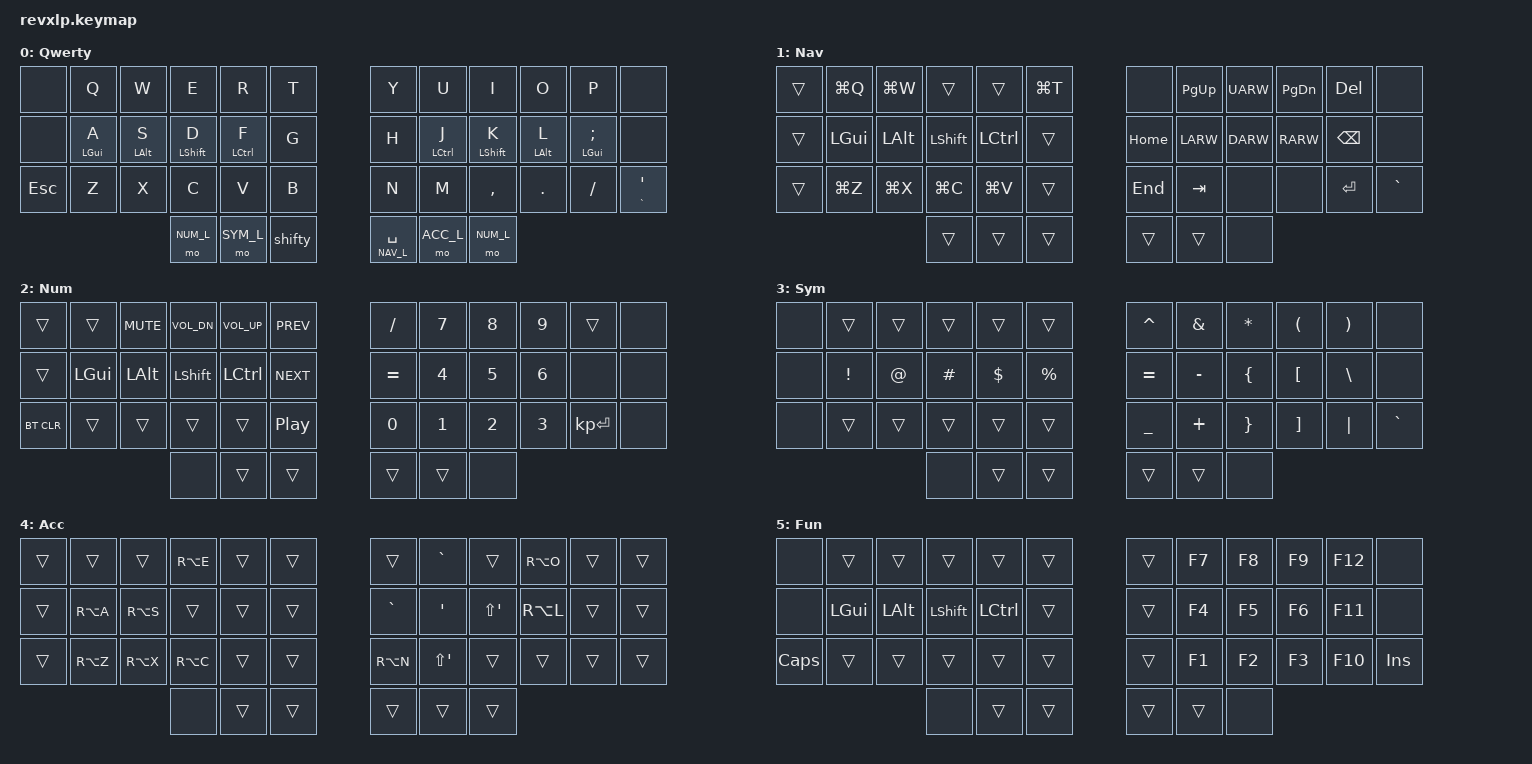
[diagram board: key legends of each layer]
/*
 * Copyright (c) 2020 The ZMK Contributors
 *
 * SPDX-License-Identifier: MIT
 */

#include <behaviors.dtsi>
#include <dt-bindings/zmk/keys.h>
#include <dt-bindings/zmk/bt.h>

#define DEFAULT_L 0
#define NAV_L 1
#define NUM_L 2
#define SYM_L 3
#define ACC_L 4
#define FUN_L 5

/* Key Position Groups */
#define KEYS_L 0 1 2 3 4 5 12 13 14 15 16 17 24 25 26 27 28 29    // left-hand keys
#define KEYS_R 6 7 8 9 10 11 18 19 20 21 22 23 30 31 32 33 34 35  // right-hand keys
#define THUMBS 36 37 38 39 40 41                                  // thumb keys

&lt {
    tapping-term-ms = <180>;
};

&mt {
    tapping-term-ms = <150>;
};

/ {
    cond_layers {
        compatible = "zmk,conditional-layers";
        tri {
            if-layers = <NUM_L NAV_L>;
            then-layer = <FUN_L>;
        };
    };

    behaviors {
        shifty: shift_caps_word {
            compatible = "zmk,behavior-tap-dance";
            label = "TD_SHIFTY";
            #binding-cells = <0>;
            tapping-term-ms = <200>;
            bindings = <&kp LSHFT>, <&caps_word>;
        };

        mtl: mod_tap_left {
            compatible = "zmk,behavior-hold-tap";
            label = "MOD_TAP_LEFT";
            #binding-cells = <2>;
            flavor = "balanced";
            tapping-term-ms = <210>;
            quick-tap-ms = <175>;
            bindings = <&kp>, <&kp>;
            hold-trigger-key-positions = <KEYS_R THUMBS>;
            hold-trigger-on-release;
            global-quick-tap;
        };

        mtr: mod_tap_right {
            compatible = "zmk,behavior-hold-tap";
            label = "MOD_TAP_RIGHT";
            #binding-cells = <2>;
            flavor = "balanced";
            tapping-term-ms = <210>;
            quick-tap-ms = <175>;
            bindings = <&kp>, <&kp>;
            hold-trigger-key-positions = <KEYS_L THUMBS>;
            hold-trigger-on-release;
            global-quick-tap;
        };
    };

    combos {
        compatible = "zmk,combos";

    // GLOBAL Combos

    tab_combo {
      timeout-ms = <50>;
      key-positions = <13 25>;
      bindings = <&kp TAB>;
    };

    tab_combo_2 {
      timeout-ms = <50>;
      key-positions = <14 26>;
      bindings = <&kp TAB>;
    };

    tab_combo_3 {
      timeout-ms = <50>;
      key-positions = <2 14>;
      bindings = <&kp TAB>;
    };

    // NUM_L Combos

    brightness_down_combo {
        timeout-ms = <50>;
        key-positions = <3 15>;
        bindings = <&kp C_BRI_DEC>;
        layers = <NUM_L>;
    };

    brightness_up_combo {
        timeout-ms = <50>;
        key-positions = <4 16>;
        bindings = <&kp C_BRI_INC>;
        layers = <NUM_L>;
    };

    lbracket {
        timeout-ms = <50>;
        key-positions = <14 26>;
        bindings = <&kp LBKT>;
        layers = <NUM_L>;
    };

    rbracket {
        timeout-ms = <50>;
        key-positions = <16 28>;
        bindings = <&kp RBKT>;
        layers = <NUM_L>;
    };

    // DEFAULT_L Combos

    enter_combo {
      timeout-ms = <50>;
      key-positions = <37 38>;
      bindings = <&kp ENTER>;
      layers = <DEFAULT_L>;
    };

    double_quote_combo {
        timeout-ms = <50>;
        key-positions = <7 19>;
        bindings = <&kp LS(QUOT)>;
        layers = <DEFAULT_L>;
    };

    less_than_combo {
        timeout-ms = <50>;
        key-positions = <8 20>;
        bindings = <&kp LT>;
        layers = <DEFAULT_L>;
    };

    bslash_combo {
        timeout-ms = <50>;
        key-positions = <10 22>;
        bindings = <&kp BSLH>;
        layers = <DEFAULT_L>;
    };

    single_quote_combo {
        timeout-ms = <50>;
        key-positions = <19 31>;
        bindings = <&kp QUOT>;
        layers = <DEFAULT_L>;
    };

    greater_than_combo {
        timeout-ms = <50>;
        key-positions = <20 32>;
        bindings = <&kp GT>;
        layers = <DEFAULT_L>;
    };

    ques_mark_combo {
        timeout-ms = <50>;
        key-positions = <21 33>;
        bindings = <&kp LS(FSLH)>;
        layers = <DEFAULT_L>;
    };

    colon_combo {
      timeout-ms = <50>;
      key-positions = <22 34>;
      bindings = <&kp COLON>;
      layers = <DEFAULT_L>;
    };

    // FUN_L Combos

    fslash_combo {
        timeout-ms = <50>;
        key-positions = <22 34>;
        bindings = <&kp FSLH>;
        layers = <FUN_L>;
    };

    bootloader_combo {
        timeout-ms = <50>;
        key-positions = <5 6>;
        bindings = <&bootloader>;
        layers = <FUN_L>;
    };

    };


        keymap {
                compatible = "zmk,keymap";

        qwerty_layer {
            label = "Qwerty";
            bindings = <
        &none        &kp Q       &kp W       &kp E        &kp R        &kp T         &kp Y            &kp U         &kp I        &kp O       &kp P          &none
        &none        &mtl LGUI A &mtl LALT S &mtl LSHFT D &mtl LCTRL F &kp G         &kp H            &mtr LCTRL J  &mtr LSHFT K &mtr LALT L &mtr LGUI SEMI &none
        &kp ESC      &kp Z       &kp X       &kp C        &kp V        &kp B         &kp N            &kp M         &kp COMMA    &kp DOT     &kp FSLH       &mt GRAVE QUOT
                                             &mo NUM_L    &mo SYM_L    &shifty       &lt NAV_L SPACE  &mo ACC_L      &mo NUM_L
            >;
        };

        nav_layer {
            label = "Nav";
            bindings = <
        &trans    &kp LG(Q)  &kp LG(W)  &trans      &trans          &kp LG(T)    &none        &kp PG_UP    &kp UARW   &kp PG_DN   &kp DEL     &none
        &trans    &kp LGUI   &kp LALT   &kp LSHFT   &kp LCTRL       &trans       &kp HOME     &kp LARW     &kp DARW   &kp RARW    &kp BKSP    &none
        &trans    &kp LG(Z)  &kp LG(X)  &kp LG(C)   &kp LG(V)       &trans       &kp END      &kp TAB      &none      &none       &kp ENTER   &kp GRAVE
                                        &trans      &trans          &trans       &trans       &trans       &none
            >;
        };

        num_layer {
            label = "Num";
            bindings = <
        &trans       &trans   &kp C_MUTE &kp C_VOL_DN &kp C_VOL_UP  &kp C_PREV       &kp FSLH   &kp N7   &kp N8   &kp N9     &trans        &none
        &trans       &kp LGUI &kp LALT   &kp LSHFT    &kp LCTRL     &kp C_NEXT       &kp EQUAL  &kp N4   &kp N5   &kp N6     &none         &none
        &bt BT_CLR   &trans   &trans     &trans       &trans        &kp C_PLAY_PAUSE &kp N0     &kp N1   &kp N2   &kp N3     &kp KP_ENTER  &none
                                        &none        &trans        &trans           &trans     &trans   &none
            >;
        };

        sym_layer {
            label = "Sym";
            bindings = <
        &none     &trans    &trans     &trans      &trans    &trans         &kp CARET     &kp AMPS   &kp ASTRK     &kp LPAR      &kp RPAR     &none
        &none     &kp EXCL  &kp AT     &kp HASH    &kp DLLR  &kp PRCNT      &kp EQUAL     &kp MINUS  &kp LBRC      &kp LBKT      &kp BSLH     &none
        &none     &trans    &trans     &trans      &trans    &trans         &kp UNDER     &kp PLUS   &kp RBRC      &kp RBKT      &kp PIPE     &kp GRAVE
                                       &none       &trans    &trans         &trans        &trans     &none
            >;
        };

        accent_layer {
            label = "Acc";
            bindings = <
        &trans     &trans       &trans        &kp RA(E)   &trans    &trans      &trans     &kp GRAVE     &trans        &kp RA(O)   &trans     &trans
        &trans     &kp RA(A)    &kp RA(S)     &trans      &trans    &trans      &kp GRAVE  &kp QUOT      &kp LS(QUOT)  &kp RA(L)   &trans     &trans
        &trans     &kp RA(Z)    &kp RA(X)     &kp RA(C)   &trans    &trans      &kp RA(N)  &kp LS(QUOT)  &trans        &trans      &trans     &trans
                                              &none       &trans    &trans      &trans     &trans        &trans
            >;
        };

        fun_layer {
            label = "Fun";
            bindings = <
        &none     &trans    &trans     &trans      &trans     &trans         &trans    &kp F7     &kp F8     &kp F9     &kp F12     &none
        &none     &kp LGUI  &kp LALT   &kp LSHFT   &kp LCTRL  &trans         &trans    &kp F4     &kp F5     &kp F6     &kp F11     &none
        &kp CAPS  &trans    &trans     &trans      &trans     &trans         &trans    &kp F1     &kp F2     &kp F3     &kp F10     &kp INS
                                           &none   &trans     &trans         &trans    &trans     &none
            >;
        };
    };
};
